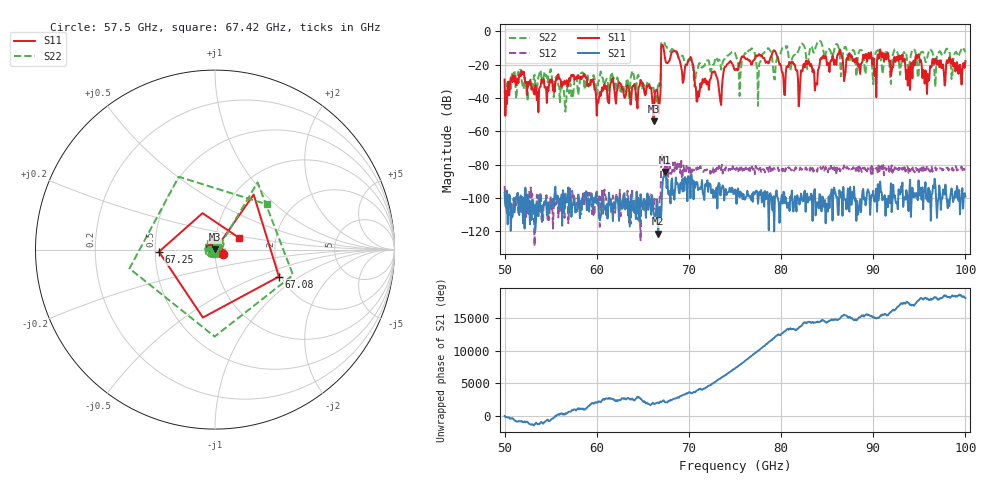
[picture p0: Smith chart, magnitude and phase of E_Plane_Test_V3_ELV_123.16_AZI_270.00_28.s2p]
! 11/26/2026 4:18:00 PM
! C:\ANRITSUVNA\TEMP\TEMP.S2P
! CHANNEL.1
! TR.MEASUREMENT
! RAW.DATA
# HZ S RI R 50.0
! FREQ.HZ  S11RE  S11IM  S21RE  S21IM  S12RE  S12IM  S22RE  S22IM
!; PortSelection: Port_12
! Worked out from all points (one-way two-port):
!   601 points, 50 GHz to 100 GHz, reference 50 ohm
!   highest |S21| = -84.44 dB at 67.42 GHz (marker M1); lowest = -121.4 dB at 66.67 GHz (marker M2)
!   lowest |S11| = -54.0 dB at 66.17 GHz (marker M3), VSWR 1.00, Z = 50.1 + j0.144 ohm
!   |S11| at or under -10 dB: start of sweep to 67 GHz; 67.25 GHz to end of sweep
!   |S22| runs from -48.2 to -5.6 dB; largest |S21 - S12| = 0.00018
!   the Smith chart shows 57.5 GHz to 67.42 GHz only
!   S11 on the Smith chart (normalised r, x): 57.5 GHz: 1.09, -0.05; 67.08 GHz: 1.94, -0.69; 67.25 GHz: 0.52, -0.01; 67.42 GHz: 1.29, +0.18
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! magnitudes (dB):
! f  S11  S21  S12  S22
! 50 GHz  -29.0  -97.0  -92.8  -35.7
! 51.67 GHz  -26.3  -101.0  -100.7  -23.2
! 53.42 GHz  -34.8  -113.1  -107.7  -34.9
! 57.5 GHz  -26.1  -100.9  -98.5  -34.6
! 58.42 GHz  -27.1  -100.2  -103.6  -24.7
! 60.17 GHz  -42.8  -101.8  -104.6  -30.4
! 66.17 GHz  -54.0  -108.5  -106.9  -34.0
! 66.67 GHz  -41.5  -121.4  -111.2  -31.6
! 67.08 GHz  -8.3  -97.0  -74.4  -6.8
! 67.25 GHz  -10.1  -87.1  -77.3  -6.2
! 67.42 GHz  -16.6  -84.4  -78.5  -8.3
! 70.25 GHz  -15.9  -85.7  -86.2  -18.8
! 70.92 GHz  -42.2  -90.9  -81.7  -23.1
! 75 GHz  -23.3  -94.8  -82.5  -13.0
! 79.25 GHz  -11.5  -120.0  -82.1  -28.9
! 80.25 GHz  -27.9  -96.3  -82.2  -9.3
! 83.42 GHz  -24.5  -113.7  -82.0  -10.8
! 91.67 GHz  -16.7  -98.6  -81.2  -15.2
! 93.75 GHz  -32.7  -102.9  -81.6  -21.3
! 94.83 GHz  -15.0  -101.3  -82.7  -27.9
! 95.83 GHz  -37.6  -98.1  -80.5  -16.5
! 100 GHz  -17.9  -99.1  -83.2  -12.6
